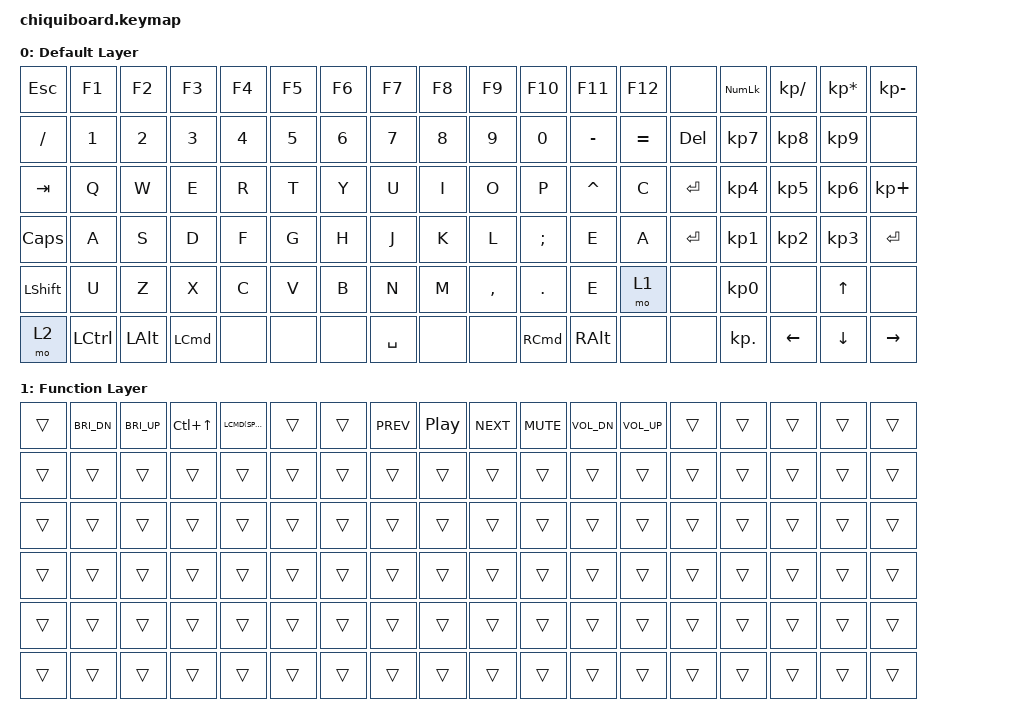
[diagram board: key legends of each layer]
/*
 * Copyright (c) 2020 The ZMK Contributors
 *
 * SPDX-License-Identifier: MIT
 */

#include <behaviors.dtsi>
#include <dt-bindings/zmk/keys.h>
#include <dt-bindings/zmk/bt.h>

/ {
        keymap {
                compatible = "zmk,keymap";

                default_layer {
                        display-name = "Default Layer";
// -----------------------------------------------------------------------------------------
// | ESC |  F1 |  F2 |  F3 |  F4 |  F5 |  F6 |  F7 |  F8 |  F9 |  F10|  F11|  F12|  PWR|  |NUMLC|  /  |  *  |  -  |
// | FSLH|  1  |  2  |  3  |  4  |  5  |  6  |  7  |  8  |  9  |  0  |MINUS|EQUAL|  DEL|  |  7  |  8  |  9  | NONE|
// | TAB |  q  |  w  |  e  |  r  |  t  |  y  |  u  |  i  |  o  |  p  |CARET|  ç  |  RET|  |  4  |  5  |  6  |  +  |
// | CAPS|  a  |  s  |  d  |  f  |  g  |  h  |  j  |  k  |  l  |  ;  |  è  |  à  |  RET|  |  1  |  2  |  3  |  RET|
// |LSHFT|  ù  |  z  |  x  |  c  |  v  |  b  |  n  |  m  |  ,  |  .  |  é  |RSHFT| NONE|  |  0  | NONE|  UP | NONE|
// | fn  |LCTRL| LALT| LCMD| NONE| NONE| NONE|SPACE| NONE| NONE| RCMD| RALT| NONE| NONE|  |  .  | LEFT| DOWN|RIGHT|
                        bindings = <
   &kp ESC   &kp F1      &kp F2    &kp F3    &kp F4    &kp F5    &kp F6    &kp F7    &kp F8    &kp F9    &kp F10   &kp F11   &kp F12   &none       &kp KP_NLCK &kp KP_DIVIDE &kp KP_MULTIPLY &kp KP_MINUS 
   &kp FSLH  &kp N1      &kp N2    &kp N3    &kp N4    &kp N5    &kp N6    &kp N7    &kp N8    &kp N9    &kp N0    &kp MINUS &kp EQUAL &kp DEL          &kp KP_N7   &kp KP_N8     &kp KP_N9       &none 
   &kp TAB   &kp Q       &kp W     &kp E     &kp R     &kp T     &kp Y     &kp U     &kp I     &kp O     &kp P     &kp CARET &kp C     &kp RET          &kp KP_N4   &kp KP_N5     &kp KP_N6       &kp KP_PLUS 
   &kp CAPS  &kp A       &kp S     &kp D     &kp F     &kp G     &kp H     &kp J     &kp K     &kp L     &kp SEMI  &kp E     &kp A     &kp RET          &kp KP_N1   &kp KP_N2     &kp KP_N3       &kp RET 
   &kp LSHFT &kp U       &kp Z     &kp X     &kp C     &kp V     &kp B     &kp N     &kp M     &kp COMMA &kp DOT   &kp E     &mo 1     &none            &kp KP_N0   &none         &kp UP          &none 
   &mo 2     &kp LCTRL   &kp LALT  &kp LCMD  &none     &none     &none     &kp SPACE &none     &none     &kp RCMD  &kp RALT  &none     &none            &kp KP_DOT  &kp LEFT      &kp DOWN        &kp RIGHT 
                        >;
                };

                fn_layer {
                        display-name = "Function Layer";
// -----------------------------------------------------------------------------------------
// | ESC |  🔅 |  🔆 |MSNCTR|  🔍 |  🎙️ |  🌙  |  ↞  |  ⏸️ |  ↠  |  🔇 |  🔉  |  🔊 |  PWR|  |NUMLC|  /  |  *  |  -  |
// | FSLH|  1  |  2  |  3  |  4  |  5  |  6  |  7  |  8  |  9  |  0  |MINUS|EQUAL|  DEL|  |  7  |  8  |  9  | NONE|
// | TAB |  q  |  w  |  e  |  r  |  t  |  y  |  u  |  i  |  o  |  p  |CARET|  ç  |  RET|  |  4  |  5  |  6  |  +  |
// | CAPS|  a  |  s  |  d  |  f  |  g  |  h  |  j  |  k  |  l  |  ;  |  è  |  à  |  RET|  |  1  |  2  |  3  |  RET|
// |LSHFT|  ù  |  z  |  x  |  c  |  v  |  b  |  n  |  m  |  ,  |  .  |  é  |RSHFT| NONE|  |  0  | NONE|  UP | NONE|
// | fn  |LCTRL| LALT| LCMD| NONE| NONE| NONE|SPACE| NONE| NONE| RCMD| RALT| NONE| NONE|  |  .  | LEFT| DOWN|RIGHT|
                        bindings = <
   &trans &kp C_BRI_DN &kp C_BRI_UP &kp LC(UP) &kp LCMD(SPACE) &trans &trans &kp C_PREV &kp C_PP  &kp C_NEXT &kp C_MUTE &kp C_VOL_DN &kp C_VOL_UP &trans &trans &trans &trans &trans
   &trans &trans       &trans       &trans     &trans          &trans &trans &trans     &trans    &trans     &trans     &trans       &trans       &trans &trans &trans &trans &trans
   &trans &trans       &trans       &trans     &trans          &trans &trans &trans     &trans    &trans     &trans     &trans       &trans       &trans &trans &trans &trans &trans
   &trans &trans       &trans       &trans     &trans          &trans &trans &trans     &trans    &trans     &trans     &trans       &trans       &trans &trans &trans &trans &trans
   &trans &trans       &trans       &trans     &trans          &trans &trans &trans     &trans    &trans     &trans     &trans       &trans       &trans &trans &trans &trans &trans
   &trans &trans       &trans       &trans     &trans          &trans &trans &trans     &trans    &trans     &trans     &trans       &trans       &trans &trans &trans &trans &trans
                        >;
                };
        };
};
